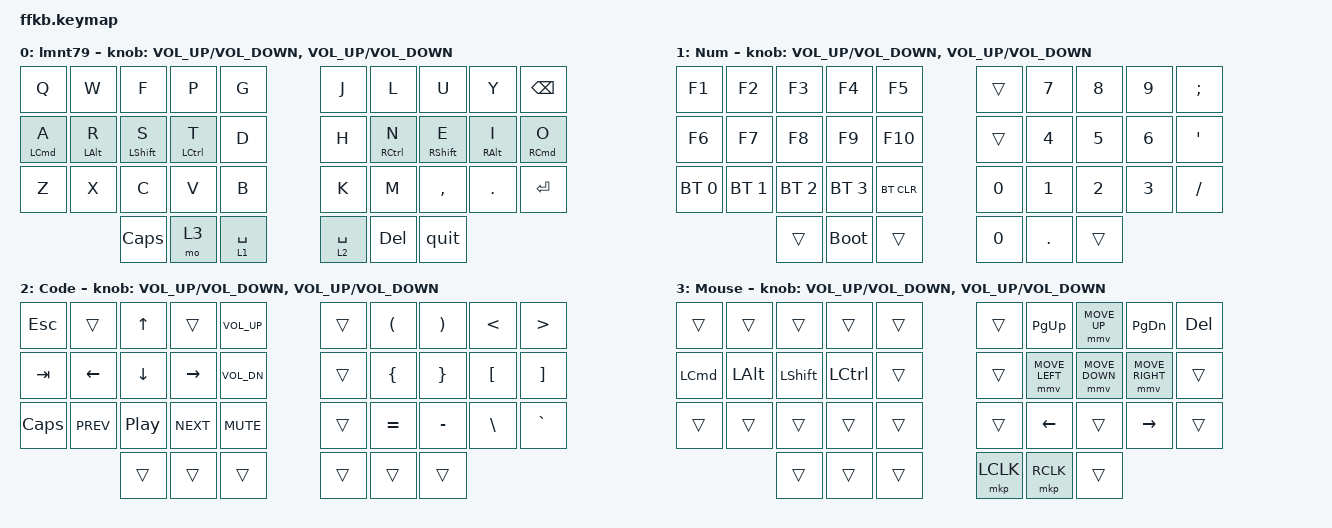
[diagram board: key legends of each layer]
#include <behaviors.dtsi>
#include <dt-bindings/zmk/keys.h>
#include <dt-bindings/zmk/rgb.h>
#include <dt-bindings/zmk/bt.h>
#include <dt-bindings/zmk/ext_power.h>
#include <dt-bindings/zmk/outputs.h>
#include <dt-bindings/zmk/mouse.h>


#define LETTERS 0
#define NUMBERS 1
#define BRACKETS 2
#define MOUSE 3


#define AS(keycode) &as LS(keycode) keycode
#define TOG_MO(layer) &tog_mo layer layer

&mt {
  tapping-term-ms = <200>;
  quick-tap-ms = <200>;
  flavor = "tap-preferred";
  retro-tap;
};

&mmv {
    time-to-max-speed-ms = <100>;
};

&mwh {
    acceleration-exponent=<2>;
};

/ {
    macros {
	paste:paste {
            label = "PASTE";
            compatible = "zmk,behavior-macro";
            #binding-cells = <0>;
            bindings
                = <&macro_press &kp LCMD>
                , <&macro_tap &kp V>
                , <&macro_release &kp LCMD>
                ;
        };
	copy: copy {
            label = "COPY";
            compatible = "zmk,behavior-macro";
            #binding-cells = <0>;
            bindings
                = <&macro_press &kp LCMD>
                , <&macro_tap &kp C>
                , <&macro_release &kp LCMD>
                ;
        };
	quit: quit {
            label = "QUIT";
            compatible = "zmk,behavior-macro";
            #binding-cells = <0>;
            bindings
                = <&macro_press &kp LCMD>
                , <&macro_tap &kp Q>
                , <&macro_release &kp LCMD>
                ;
        };
	search: search {
            label = "QUIT";
            compatible = "zmk,behavior-macro";
            #binding-cells = <0>;
            bindings
                = <&macro_press &kp LCMD>
                , <&macro_tap &kp SPACE>
                , <&macro_release &kp LCMD>
                ;
        };
    };
};

/ {

    sensors {
        compatible = "zmk,keymap-sensors";
        sensors = <&encoder_1 &encoder_2>;
    };

    behaviors {
        as: auto_shift {
                compatible = "zmk,behavior-hold-tap";
                label = "AUTO_SHIFT";
                #binding-cells = <2>;
                tapping_term_ms = <150>;
                quick_tap_ms = <0>;
                flavor = "tap-preferred";
                bindings = <&kp>, <&kp>;
            };
	    tog_mo: behavior_mo_tog {
            compatible = "zmk,behavior-hold-tap";
            label = "mo_tog";
            #binding-cells = <2>;
            flavor = "hold-preferred";
            tapping-term-ms = <200>;
            bindings = <&tog>, <&mo>;
        };
    };

    keymap {
        compatible = "zmk,keymap";

         letters {

label = "lmnt79";

            sensor-bindings = <&inc_dec_kp C_VOLUME_UP C_VOLUME_DOWN &inc_dec_kp C_VOLUME_UP C_VOLUME_DOWN>;

            bindings = <
    		&kp Q 		&kp W 		&kp F 		&kp P 		&kp G   		&kp J 		&kp L  		&kp U		&kp Y 		&kp BSPC    
    		&mt LCMD A 	&mt LALT R 	&mt LSHFT S &mt LCTRL T &kp D   		&kp H 		&mt RCTRL N  &mt RSHFT E     &mt RALT I   &mt RCMD O 
    		&kp Z 		&kp X 		&kp C 		&kp V 		&kp B   		&kp K 		&kp M  		&kp COMMA 	&kp DOT 	&kp RET 
               						&kp CAPS   &mo 3   	&lt 1 SPACE  	&lt 2 SPACE &kp DEL  	&quit
            >;
        };

        numbers {
label = "Num";
            
            sensor-bindings = <&inc_dec_kp C_VOLUME_UP C_VOLUME_DOWN &inc_dec_kp C_VOLUME_UP C_VOLUME_DOWN>;
            
            bindings = <
    		&kp F1   	&kp F2     	&kp F3    	&kp F4    	&kp F5      	&trans  	&kp N7  	&kp N8 		&kp N9 		&kp SEMI 	
       		&kp F6    	&kp F7     	&kp F8      &kp F9      &kp F10 		&trans 		&kp N4		&kp N5		&kp N6		&kp SQT 	
     		&bt BT_SEL 0	&bt BT_SEL 1	&bt BT_SEL 2	&bt BT_SEL 3	&bt BT_CLR         	&kp N0		&kp N1		&kp N2		&kp N3		&kp FSLH			 
                          			&trans    &bootloader   &trans          &kp N0  	&kp DOT   	&trans
            >;
        };

         brackets {
		label = "Code";
            
            sensor-bindings = <&inc_dec_kp C_VOLUME_UP C_VOLUME_DOWN &inc_dec_kp C_VOLUME_UP C_VOLUME_DOWN>;
            
            bindings = <
    		&kp ESC  	&trans 		&kp UP 		&trans 		&kp C_VOL_UP 	&trans 		&kp LPAR 	&kp RPAR	&kp LT		&kp GT 
    		&kp TAB 	&kp LEFT 	&kp DOWN 	&kp RIGHT 	&kp C_VOL_DN    &trans 		&kp LBRC 	&kp RBRC 	&kp LBKT 	&kp RBKT 
    		&kp CAPS 	&kp C_PREV 	&kp C_PP 	&kp C_NEXT 	&kp K_MUTE   	&trans  	&kp EQUAL 	&kp MINUS 	&kp BSLH 	&kp GRAVE 
                    	 			&trans    	&trans    	&trans       	&trans 		&trans 		&trans
            >;
        };

         mouse {
		label = "Mouse";

            sensor-bindings = <&inc_dec_kp C_VOLUME_UP C_VOLUME_DOWN &inc_dec_kp C_VOLUME_UP C_VOLUME_DOWN>;
            
            bindings = <
   			&trans     	&trans   	&trans  	&trans     	&trans      	&trans    	&kp PAGE_UP	&mmv MOVE_UP	&kp PAGE_DOWN	&kp DEL                
           	&kp LCMD    &kp LALT    &kp LSHFT  	&kp LCTRL   &trans          &trans      &mmv MOVE_LEFT &mmv MOVE_DOWN	&mmv MOVE_RIGHT	&trans          
           	&trans    	&trans      &trans     	&trans      &trans		    &trans		&kp LEFT	&trans		&kp RIGHT	&trans                
                                    &trans     	&trans      &trans          &mkp LCLK   &mkp RCLK   &trans      
            >;
        };
    };
};
